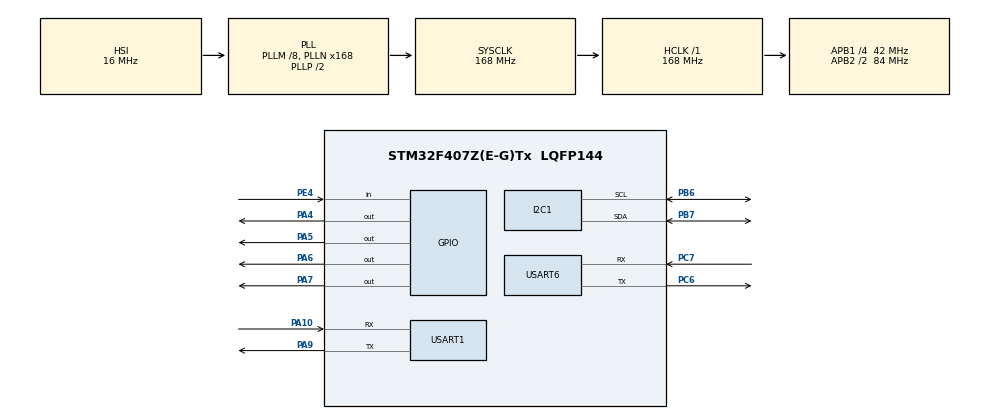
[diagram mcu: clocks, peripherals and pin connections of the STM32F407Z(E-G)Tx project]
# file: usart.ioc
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Mcu.Family=STM32F4
PH0-OSC_IN.Signal=RCC_OSC_IN
Dma.USART6_TX.5.MemInc=DMA_MINC_ENABLE
RCC.CortexFreq_Value=168000000
NVIC.I2C1_EV_IRQn=true\:0\:0\:false\:false\:true\:true\:true
Dma.USART6_TX.5.Priority=DMA_PRIORITY_LOW
Dma.USART1_TX.1.MemInc=DMA_MINC_ENABLE
Dma.I2C1_TX.3.PeriphInc=DMA_PINC_DISABLE
Dma.I2C1_RX.2.MemDataAlignment=DMA_MDATAALIGN_BYTE
Dma.USART6_TX.5.FIFOMode=DMA_FIFOMODE_DISABLE
Dma.I2C1_TX.3.Priority=DMA_PRIORITY_LOW
RCC.SYSCLKSource=RCC_SYSCLKSOURCE_PLLCLK
ProjectManager.StackSize=0x400
Dma.I2C1_RX.2.PeriphDataAlignment=DMA_PDATAALIGN_BYTE
Dma.I2C1_TX.3.FIFOMode=DMA_FIFOMODE_DISABLE
RCC.HCLKFreq_Value=168000000
RCC.APB2TimFreq_Value=168000000
PB6.Signal=I2C1_SCL
PC7.Signal=USART6_RX
PB6.Mode=I2C
RCC.AHBFreq_Value=168000000
PH0-OSC_IN.Mode=HSE-External-Oscillator
Dma.USART1_RX.0.Priority=DMA_PRIORITY_LOW
Dma.USART6_TX.5.PeriphDataAlignment=DMA_PDATAALIGN_BYTE
RCC.HSE_VALUE=25000000
Dma.USART6_TX.5.MemDataAlignment=DMA_MDATAALIGN_BYTE
Dma.USART6_RX.4.Mode=DMA_NORMAL
Dma.I2C1_RX.2.Mode=DMA_NORMAL
Dma.USART6_RX.4.Instance=DMA2_Stream1
Dma.I2C1_TX.3.MemDataAlignment=DMA_MDATAALIGN_BYTE
PA14.Mode=Serial_Wire
Dma.I2C1_TX.3.MemInc=DMA_MINC_ENABLE
Dma.I2C1_TX.3.Direction=DMA_MEMORY_TO_PERIPH
PB7.Signal=I2C1_SDA
Dma.I2C1_RX.2.Priority=DMA_PRIORITY_LOW
Dma.USART6_TX.5.Instance=DMA2_Stream6
Dma.USART1_RX.0.MemInc=DMA_MINC_ENABLE
NVIC.I2C1_ER_IRQn=true\:0\:0\:false\:false\:true\:true\:true
PE4.Signal=GPIO_Input
Dma.USART1_TX.1.PeriphDataAlignment=DMA_PDATAALIGN_BYTE
NVIC.DMA1_Stream7_IRQn=true\:0\:0\:false\:false\:true\:false\:true
PH1-OSC_OUT.Mode=HSE-External-Oscillator
Mcu.Package=LQFP144
Dma.USART6_RX.4.PeriphInc=DMA_PINC_DISABLE
PA6.Signal=GPIO_Output
NVIC.DMA2_Stream7_IRQn=true\:0\:0\:false\:false\:true\:false\:true
Dma.I2C1_RX.2.PeriphInc=DMA_PINC_DISABLE
USART6.VirtualMode=VM_ASYNC
Dma.I2C1_RX.2.Instance=DMA1_Stream0
PA10.Signal=USART1_RX
Dma.I2C1_RX.2.MemInc=DMA_MINC_ENABLE
Dma.USART1_RX.0.FIFOMode=DMA_FIFOMODE_DISABLE
RCC.APB2CLKDivider=RCC_HCLK_DIV2
Dma.USART6_RX.4.MemInc=DMA_MINC_ENABLE
NVIC.DMA2_Stream2_IRQn=true\:0\:0\:false\:false\:true\:false\:true
Dma.Request2=I2C1_RX
Dma.Request1=USART1_TX
RCC.APB1TimFreq_Value=84000000
Dma.Request4=USART6_RX
Dma.Request3=I2C1_TX
Dma.USART1_RX.0.Mode=DMA_NORMAL
Dma.Request5=USART6_TX
Dma.USART1_TX.1.Priority=DMA_PRIORITY_LOW
NVIC.DMA1_Stream0_IRQn=true\:0\:0\:false\:false\:true\:false\:true
Dma.I2C1_RX.2.FIFOMode=DMA_FIFOMODE_DISABLE
NVIC.USART1_IRQn=true\:0\:0\:false\:false\:true\:true\:true
Dma.Request0=USART1_RX
Dma.USART1_RX.0.Instance=DMA2_Stream2
PB7.GPIO_Speed=GPIO_SPEED_FREQ_MEDIUM
Dma.USART1_TX.1.Direction=DMA_MEMORY_TO_PERIPH
Dma.USART6_RX.4.MemDataAlignment=DMA_MDATAALIGN_BYTE
Dma.USART1_TX.1.Instance=DMA2_Stream7
Dma.USART1_RX.0.PeriphDataAlignment=DMA_PDATAALIGN_BYTE
PA10.Mode=Asynchronous
Dma.USART6_TX.5.Direction=DMA_MEMORY_TO_PERIPH
Dma.USART6_RX.4.Priority=DMA_PRIORITY_LOW
PC6.Signal=USART6_TX
Dma.USART6_RX.4.PeriphDataAlignment=DMA_PDATAALIGN_BYTE
Dma.USART6_RX.4.FIFOMode=DMA_FIFOMODE_DISABLE
NVIC.DMA2_Stream1_IRQn=true\:0\:0\:false\:false\:true\:false\:true
RCC.APB1CLKDivider=RCC_HCLK_DIV4
NVIC.USART6_IRQn=true\:0\:0\:false\:false\:true\:true\:true
PA13.Signal=SYS_JTMS-SWDIO
PA9.Mode=Asynchronous
ProjectManager.TargetToolchain=STM32CubeIDE
I2C1.I2C_Mode=I2C_Fast
PC6.Mode=Asynchronous
Dma.USART1_RX.0.Direction=DMA_PERIPH_TO_MEMORY
Dma.USART6_TX.5.Mode=DMA_NORMAL
PA9.Signal=USART1_TX
Dma.USART1_TX.1.FIFOMode=DMA_FIFOMODE_DISABLE
NVIC.DMA2_Stream6_IRQn=true\:0\:0\:false\:false\:true\:false\:true
RCC.LSE_VALUE=32768
Dma.I2C1_TX.3.PeriphDataAlignment=DMA_PDATAALIGN_BYTE
Dma.USART1_RX.0.PeriphInc=DMA_PINC_DISABLE
PA5.Signal=GPIO_Output
Dma.USART1_TX.1.MemDataAlignment=DMA_MDATAALIGN_BYTE
board=custom
RCC.VCOOutputFreq_Value=336000000
RCC.APB2Freq_Value=84000000
PH1-OSC_OUT.Signal=RCC_OSC_OUT
Dma.USART1_RX.0.MemDataAlignment=DMA_MDATAALIGN_BYTE
PA13.Mode=Serial_Wire
Mcu.Name=STM32F407Z(E-G)Tx
Dma.I2C1_TX.3.Instance=DMA1_Stream7
RCC.48MHZClocksFreq_Value=84000000
PA4.Signal=GPIO_Output
RCC.SYSCLKFreq_VALUE=168000000
Dma.USART6_RX.4.Direction=DMA_PERIPH_TO_MEMORY
Dma.USART6_TX.5.PeriphInc=DMA_PINC_DISABLE
Dma.USART1_TX.1.Mode=DMA_NORMAL
USART1.VirtualMode=VM_ASYNC
PB7.Mode=I2C
PA14.Signal=SYS_JTCK-SWCLK
ProjectManager.HeapSize=0x200
Dma.USART1_TX.1.PeriphInc=DMA_PINC_DISABLE
RCC.HSI_VALUE=16000000
NVIC.PriorityGroup=NVIC_PRIORITYGROUP_4
RCC.PLLM=8
RCC.PLLN=168
PC7.Mode=Asynchronous
PB6.GPIO_Speed=GPIO_SPEED_FREQ_MEDIUM
RCC.APB1Freq_Value=42000000
Dma.I2C1_TX.3.Mode=DMA_NORMAL
Dma.I2C1_RX.2.Direction=DMA_PERIPH_TO_MEMORY
PA7.Signal=GPIO_Output

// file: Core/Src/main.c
/* USER CODE BEGIN Header */
/**
  ******************************************************************************
  * @file           : main.c
  * @brief          : Main program body
  ******************************************************************************
  * @attention
  *
  * <h2><center>&copy; Copyright (c) 2021 STMicroelectronics.
  * All rights reserved.</center></h2>
  *
  * This software component is licensed by ST under BSD 3-Clause license,
  * the "License"; You may not use this file except in compliance with the
  * License. You may obtain a copy of the License at:
  *                        opensource.org/licenses/BSD-3-Clause
  *
  ******************************************************************************
  */
/* USER CODE END Header */
#include "main.h"

/* USER CODE BEGIN Includes */
#include "draw_api.h"
/* USER CODE END Includes */

/* USER CODE BEGIN PTD */
char recBuffer[8];
char pulseBuffer[8];
char test[8] = {0xc8, 0x00, 0x00, 0x00, 0x76, 0x96, 0x98, 0x00};
/* USER CODE END PTD */

I2C_HandleTypeDef hi2c1;
DMA_HandleTypeDef hdma_i2c1_rx;
DMA_HandleTypeDef hdma_i2c1_tx;

UART_HandleTypeDef huart1;
UART_HandleTypeDef huart6;
DMA_HandleTypeDef hdma_usart1_rx;
DMA_HandleTypeDef hdma_usart1_tx;
DMA_HandleTypeDef hdma_usart6_rx;
DMA_HandleTypeDef hdma_usart6_tx;

void SystemClock_Config(void);
static void MX_GPIO_Init(void);
static void MX_DMA_Init(void);
static void MX_USART1_UART_Init(void);
static void MX_I2C1_Init(void);
static void MX_USART6_UART_Init(void);
/* USER CODE BEGIN PFP */
/*************************
8位转32位
Len：  数据长度
*Data：数据
说明：剩余位补0；
*************************/
unsigned int Data_u32[10];
void u8tou32(unsigned char Len, unsigned char *Data)
{
    for(int i = 0; i < 10; i++) {
        Data_u32[i] = 0;
    }
    unsigned char SurplusLen;//32位数据长度和8位数据剩余长度
    unsigned char i,num=0;
    SurplusLen = Len % 4;//知道最后空几个
    if (SurplusLen != 0) Len += (4 - SurplusLen);
    for (i = 0; i < Len ; i+=4)
    {
        //printf("%d\r\n",i);
        if (i < (Len - 4))
        {
            Data_u32[num] |= Data[i + 0] << 24;
            Data_u32[num] |= Data[i + 1] << 16;
            Data_u32[num] |= Data[i + 2] << 8;
            Data_u32[num] |= Data[i + 3];
        }
        else
        {
            if (SurplusLen == 3)
            {
                Data_u32[num] |= Data[i + 0] << 24;
                Data_u32[num] |= Data[i + 1] << 16;
                Data_u32[num] |= Data[i + 2] << 8;
                Data_u32[num] |= 0;
            }
            else if (SurplusLen == 2)
            {
                Data_u32[num] |= Data[i + 0] << 24;
                Data_u32[num] |= Data[i + 1] << 16;
                Data_u32[num] |= 0;
                Data_u32[num] |= 0;
            }
            else if (SurplusLen == 1)
            {
                Data_u32[num] |= Data[i + 0] << 24;
                Data_u32[num] |= 0;
                Data_u32[num] |= 0;
                Data_u32[num] |= 0;
            }
            else
            {
                Data_u32[num] |= Data[i + 0] << 24;
                Data_u32[num] |= Data[i + 1] << 16;
                Data_u32[num] |= Data[i + 2] << 8;
                Data_u32[num] |= Data[i + 3];
            }
        }
        num++;
    }
}

/* USER CODE END PFP */

/* USER CODE BEGIN 0 */
#include "stdio.h"

void RoundClock(int hours ,int minute ,int sec)
{
    //FrameRateUpdateScreen(60);
    unsigned char i=0;
    TypeXY hourspoint,minutepoint,secpoint,tmp1,tmp2;
    //时针
    SetRotateValue(63,31,hours*30+(minute*30)/60,1);
    hourspoint=GetRotateXY(63-14,31);
    DrawLine(63,31,hourspoint.x,hourspoint.y);
    //分针
    SetRotateValue(63,31,minute*6+(sec*6)/60,1);
    minutepoint=GetRotateXY(63-21,31);
    DrawLine(63,31,minutepoint.x,minutepoint.y);
    //秒针
    SetRotateValue(63,31,sec*6,1);
    secpoint=GetRotateXY(63-28,31);
    DrawLine(63,31,secpoint.x,secpoint.y);
    //表盘
    for(i=0;i<12;i++)
    {
        SetRotateValue(63,31,i*30,1);
        tmp1=GetRotateXY(63-29,31);
        tmp2=GetRotateXY(63-24,31);
        DrawLine(tmp1.x,tmp1.y,tmp2.x,tmp2.y);
    }
    DrawFillCircle(63,31,2);
    DrawCircle(63,31,30);
    UpdateScreen();
    ClearScreen();
}

void Rotate() {
    for(int i = 3; i < 24; i++) {
        for(int j = 30; j < 60; j++) {
            for(int k = 0; k < 60; k++) {
                RoundClock(i, j, k);
                HAL_Delay(1000);
            }
        }
    }
}

int pow(int n) {
    int s = 1;
    for (int i = 0; i < n; i++) {
        s *= 10;
    }
    return s;
}

double f;
double pulse_width;
int flag = 0;

void HAL_UART_RxCpltCallback(UART_HandleTypeDef *UartHandle) {
    if(UartHandle->Instance == USART1) {
        char temp;
        for (int i = 0; i < 4; i++) {
            temp = recBuffer[i];
            recBuffer[i] = recBuffer[7 - i];
            recBuffer[7 - i] = temp;
        }
        u8tou32(8, recBuffer);
        f = Data_u32[1] * 50000000.0 / Data_u32[0];
    }
    else if(UartHandle->Instance == USART6) {
        pulse_width = pulseBuffer[0] / 256.0;
    }
}

/* USER CODE END 0 */

int main(void)
{

  /* MCU Configuration--------------------------------------------------------*/

  /* Reset of all peripherals, Initializes the Flash interface and the Systick. */
  HAL_Init();

  /* USER CODE BEGIN Init */
    #define RXBUFFERSIZE  256
    char RxBuffer[RXBUFFERSIZE];
  /* USER CODE END Init */

  /* Configure the system clock */
  SystemClock_Config();

  /* Initialize all configured peripherals */
  MX_GPIO_Init();
  MX_DMA_Init();
  MX_USART1_UART_Init();
  MX_I2C1_Init();
  MX_USART6_UART_Init();

  /* Infinite loop */
  /* USER CODE BEGIN WHILE */

    OLED_Init();

    f = 0;
    int integer;
    int floater;

    int integer1;
    int floater1;

    while (1)
  {
    /* USER CODE END WHILE */

    /* USER CODE BEGIN 3 */
      HAL_UART_Receive_DMA(&huart1, recBuffer, 8);
      HAL_UART_Receive_DMA(&huart6, pulseBuffer, 1);
      ClearScreen();
    if(HAL_GPIO_ReadPin(GPIOE, GPIO_PIN_4) == GPIO_PIN_RESET) {
        SetFontSize(3);
        DrawString(50, 1, "PW");
        integer1 = (int) (pulse_width * 100);
        floater1 = (int) (pulse_width * 10000) - integer1 * 100;
        SetFontSize(3);
        DrawNum(10, 40, integer1, 2);
        DrawChar(45, 40, '.');
        DrawNum(65, 40, floater1, 2);
        DrawChar(100, 40, '%');
        UpdateScreen();
    } else {
        SetFontSize(3);
        DrawString(30, 1, "FREQ");
        SetFontSize(1);
        if (f < 1000) {
            DrawString(105, 48, "HZ");
            integer = (int) f;
            floater = 1000 * f - 1000 * (int) f;
        } else if (f < 1000000) {
            DrawString(105, 48, "KHZ");
            integer = (int) (f / 1000);
            floater = (int) (f - 1000 * (int) (f / 1000));
            int a = 3;
        } else if (f < 1000000000) {
            DrawString(105, 48, "MHZ");
            integer = (int) (f / 1000000);
            floater = (int) (f - 1000000 * (int) (f / 1000000));
        }

        SetFontSize(2);
        DrawNum(0, 40, integer, 4);
        DrawChar(45, 40, '.');
        DrawNum(55, 40, floater, 3);
        UpdateScreen();
    }
    //HAL_I2C_Mem_Write(&hi2c1, 0x78, 0x00, I2C_MEMADD_SIZE_8BIT, command, 3, 100);
  }
  /* USER CODE END 3 */
}

void SystemClock_Config(void)
{
  RCC_OscInitTypeDef RCC_OscInitStruct = {0};
  RCC_ClkInitTypeDef RCC_ClkInitStruct = {0};

  /** Configure the main internal regulator output voltage
  */
  __HAL_RCC_PWR_CLK_ENABLE();
  __HAL_PWR_VOLTAGESCALING_CONFIG(PWR_REGULATOR_VOLTAGE_SCALE1);
  /** Initializes the RCC Oscillators according to the specified parameters
  * in the RCC_OscInitTypeDef structure.
  */
  RCC_OscInitStruct.OscillatorType = RCC_OSCILLATORTYPE_HSI;
  RCC_OscInitStruct.HSIState = RCC_HSI_ON;
  RCC_OscInitStruct.HSICalibrationValue = RCC_HSICALIBRATION_DEFAULT;
  RCC_OscInitStruct.PLL.PLLState = RCC_PLL_ON;
  RCC_OscInitStruct.PLL.PLLSource = RCC_PLLSOURCE_HSI;
  RCC_OscInitStruct.PLL.PLLM = 8;
  RCC_OscInitStruct.PLL.PLLN = 168;
  RCC_OscInitStruct.PLL.PLLP = RCC_PLLP_DIV2;
  RCC_OscInitStruct.PLL.PLLQ = 4;
  if (HAL_RCC_OscConfig(&RCC_OscInitStruct) != HAL_OK)
  {
    Error_Handler();
  }
  /** Initializes the CPU, AHB and APB buses clocks
  */
  RCC_ClkInitStruct.ClockType = RCC_CLOCKTYPE_HCLK|RCC_CLOCKTYPE_SYSCLK
                              |RCC_CLOCKTYPE_PCLK1|RCC_CLOCKTYPE_PCLK2;
  RCC_ClkInitStruct.SYSCLKSource = RCC_SYSCLKSOURCE_PLLCLK;
  RCC_ClkInitStruct.AHBCLKDivider = RCC_SYSCLK_DIV1;
  RCC_ClkInitStruct.APB1CLKDivider = RCC_HCLK_DIV4;
  RCC_ClkInitStruct.APB2CLKDivider = RCC_HCLK_DIV2;

  if (HAL_RCC_ClockConfig(&RCC_ClkInitStruct, FLASH_LATENCY_5) != HAL_OK)
  {
    Error_Handler();
  }
}

static void MX_I2C1_Init(void)
{

  hi2c1.Instance = I2C1;
  hi2c1.Init.ClockSpeed = 400000;
  hi2c1.Init.DutyCycle = I2C_DUTYCYCLE_2;
  hi2c1.Init.OwnAddress1 = 0;
  hi2c1.Init.AddressingMode = I2C_ADDRESSINGMODE_7BIT;
  hi2c1.Init.DualAddressMode = I2C_DUALADDRESS_DISABLE;
  hi2c1.Init.OwnAddress2 = 0;
  hi2c1.Init.GeneralCallMode = I2C_GENERALCALL_DISABLE;
  hi2c1.Init.NoStretchMode = I2C_NOSTRETCH_DISABLE;
  if (HAL_I2C_Init(&hi2c1) != HAL_OK)
  {
    Error_Handler();
  }

}

static void MX_USART1_UART_Init(void)
{

  huart1.Instance = USART1;
  huart1.Init.BaudRate = 115200;
  huart1.Init.WordLength = UART_WORDLENGTH_8B;
  huart1.Init.StopBits = UART_STOPBITS_1;
  huart1.Init.Parity = UART_PARITY_NONE;
  huart1.Init.Mode = UART_MODE_TX_RX;
  huart1.Init.HwFlowCtl = UART_HWCONTROL_NONE;
  huart1.Init.OverSampling = UART_OVERSAMPLING_16;
  if (HAL_UART_Init(&huart1) != HAL_OK)
  {
    Error_Handler();
  }

}

static void MX_USART6_UART_Init(void)
{

  huart6.Instance = USART6;
  huart6.Init.BaudRate = 115200;
  huart6.Init.WordLength = UART_WORDLENGTH_8B;
  huart6.Init.StopBits = UART_STOPBITS_1;
  huart6.Init.Parity = UART_PARITY_NONE;
  huart6.Init.Mode = UART_MODE_TX_RX;
  huart6.Init.HwFlowCtl = UART_HWCONTROL_NONE;
  huart6.Init.OverSampling = UART_OVERSAMPLING_16;
  if (HAL_UART_Init(&huart6) != HAL_OK)
  {
    Error_Handler();
  }

}

static void MX_DMA_Init(void)
{

  /* DMA controller clock enable */
  __HAL_RCC_DMA2_CLK_ENABLE();
  __HAL_RCC_DMA1_CLK_ENABLE();

  /* DMA interrupt init */
  /* DMA1_Stream0_IRQn interrupt configuration */
  HAL_NVIC_SetPriority(DMA1_Stream0_IRQn, 0, 0);
  HAL_NVIC_EnableIRQ(DMA1_Stream0_IRQn);
  /* DMA1_Stream7_IRQn interrupt configuration */
  HAL_NVIC_SetPriority(DMA1_Stream7_IRQn, 0, 0);
  HAL_NVIC_EnableIRQ(DMA1_Stream7_IRQn);
  /* DMA2_Stream1_IRQn interrupt configuration */
  HAL_NVIC_SetPriority(DMA2_Stream1_IRQn, 0, 0);
  HAL_NVIC_EnableIRQ(DMA2_Stream1_IRQn);
  /* DMA2_Stream2_IRQn interrupt configuration */
  HAL_NVIC_SetPriority(DMA2_Stream2_IRQn, 0, 0);
  HAL_NVIC_EnableIRQ(DMA2_Stream2_IRQn);
  /* DMA2_Stream6_IRQn interrupt configuration */
  HAL_NVIC_SetPriority(DMA2_Stream6_IRQn, 0, 0);
  HAL_NVIC_EnableIRQ(DMA2_Stream6_IRQn);
  /* DMA2_Stream7_IRQn interrupt configuration */
  HAL_NVIC_SetPriority(DMA2_Stream7_IRQn, 0, 0);
  HAL_NVIC_EnableIRQ(DMA2_Stream7_IRQn);

}

static void MX_GPIO_Init(void)
{
  GPIO_InitTypeDef GPIO_InitStruct = {0};

  /* GPIO Ports Clock Enable */
  __HAL_RCC_GPIOE_CLK_ENABLE();
  __HAL_RCC_GPIOH_CLK_ENABLE();
  __HAL_RCC_GPIOA_CLK_ENABLE();
  __HAL_RCC_GPIOC_CLK_ENABLE();
  __HAL_RCC_GPIOB_CLK_ENABLE();

  /*Configure GPIO pin Output Level */
  HAL_GPIO_WritePin(GPIOA, GPIO_PIN_4|GPIO_PIN_5|GPIO_PIN_6|GPIO_PIN_7, GPIO_PIN_RESET);

  /*Configure GPIO pin : PE4 */
  GPIO_InitStruct.Pin = GPIO_PIN_4;
  GPIO_InitStruct.Mode = GPIO_MODE_INPUT;
  GPIO_InitStruct.Pull = GPIO_NOPULL;
  HAL_GPIO_Init(GPIOE, &GPIO_InitStruct);

  /*Configure GPIO pins : PA4 PA5 PA6 PA7 */
  GPIO_InitStruct.Pin = GPIO_PIN_4|GPIO_PIN_5|GPIO_PIN_6|GPIO_PIN_7;
  GPIO_InitStruct.Mode = GPIO_MODE_OUTPUT_PP;
  GPIO_InitStruct.Pull = GPIO_NOPULL;
  GPIO_InitStruct.Speed = GPIO_SPEED_FREQ_LOW;
  HAL_GPIO_Init(GPIOA, &GPIO_InitStruct);

}

void Error_Handler(void)
{
  __disable_irq();
  while (1)
  {
  }
}

/************************ (C) COPYRIGHT STMicroelectronics *****END OF FILE****/
